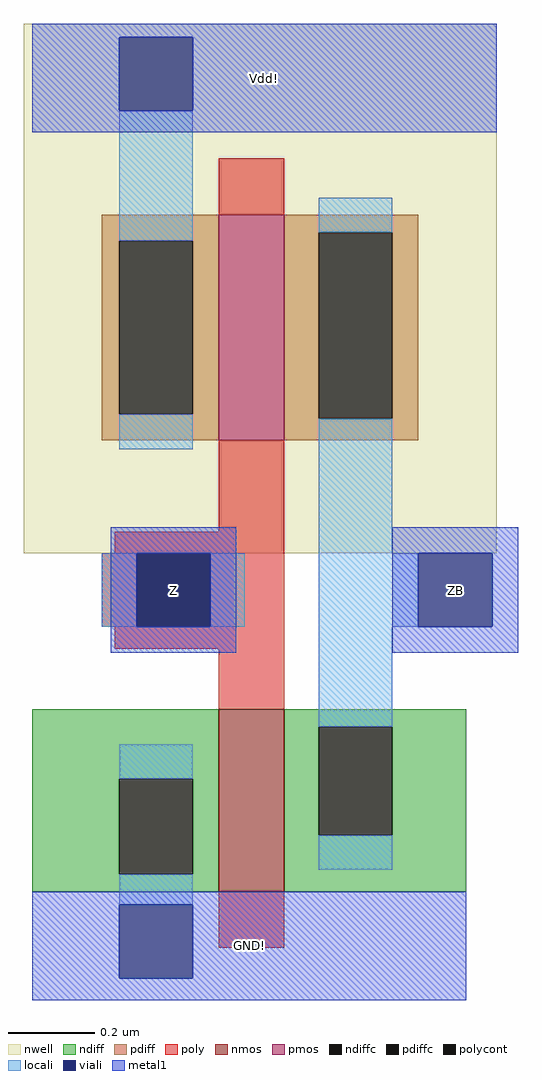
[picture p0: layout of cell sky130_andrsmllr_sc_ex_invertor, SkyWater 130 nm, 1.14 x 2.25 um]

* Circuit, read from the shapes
.subckt sky130_andrsmllr_sc_ex_invertor GND! Vdd! Z ZB
XM1 ZB Z GND! VSUBS sky130_fd_pr__nfet_01v8 w=0.42 l=0.15
XM2 ZB Z Vdd! n1 sky130_fd_pr__pfet_01v8 w=0.52 l=0.15
.ends

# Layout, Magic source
magic
tech sky130A
<< nwell >>
rect -2 103 107 225
<< nmos >>
rect 43 25 58 67
<< pmos >>
rect 43 129 58 181
<< ndiff >>
rect 0 51 43 67
rect 0 29 20 51
rect 37 29 43 51
rect 0 25 43 29
rect 58 63 100 67
rect 58 38 66 63
rect 83 38 100 63
rect 58 25 100 38
<< pdiff >>
rect 16 175 43 181
rect 16 135 20 175
rect 37 135 43 175
rect 16 129 43 135
rect 58 177 89 181
rect 58 134 66 177
rect 83 134 89 177
rect 58 129 89 134
<< ndiffc >>
rect 20 29 37 51
rect 66 38 83 63
<< pdiffc >>
rect 20 135 37 175
rect 66 134 83 177
<< poly >>
rect 43 181 58 194
rect 43 108 58 129
rect 19 103 58 108
rect 16 86 24 103
rect 41 86 58 103
rect 19 81 58 86
rect 43 67 58 81
rect 43 12 58 25
<< polycont >>
rect 24 86 41 103
<< locali >>
rect 20 175 37 205
rect 20 127 37 135
rect 66 177 83 185
rect 66 103 83 134
rect 16 86 24 103
rect 41 86 49 103
rect 66 86 89 103
rect 66 63 83 86
rect 20 51 37 59
rect 66 30 83 38
rect 20 22 37 29
<< viali >>
rect 20 205 37 222
rect 24 86 41 103
rect 89 86 106 103
rect 20 5 37 22
<< metal1 >>
rect 0 222 107 225
rect 0 205 20 222
rect 37 205 107 222
rect 0 200 107 205
rect 18 103 47 109
rect 18 86 24 103
rect 41 86 47 103
rect 18 80 47 86
rect 83 103 112 109
rect 83 86 89 103
rect 106 86 112 103
rect 83 80 112 86
rect 0 22 100 25
rect 0 5 20 22
rect 37 5 100 22
rect 0 0 100 5
<< labels >>
rlabel metal1 0 0 100 25 0 GND!
rlabel metal1 0 200 107 225 0 Vdd!
rlabel metal1 18 80 47 109 0 Z
rlabel metal1 83 80 112 109 0 ZB
<< end >>
